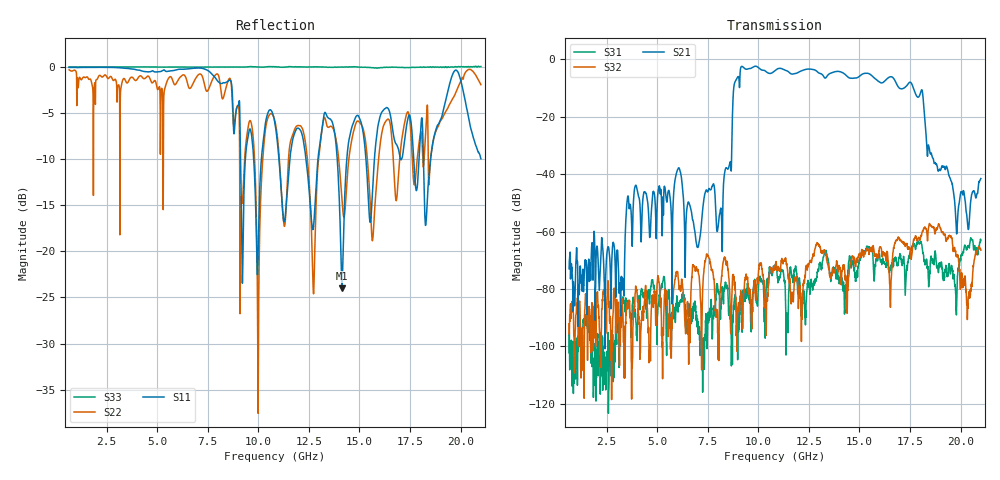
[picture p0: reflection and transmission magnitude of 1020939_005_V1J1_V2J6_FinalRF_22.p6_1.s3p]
!Keysight Technologies,N5227B,US58420583,A.13.95.07
!Date: Wednesday, April 06, 2022 15:24:42
!Correction: S11(Full 3 Port(1,2,3))
!S12(Full 3 Port(1,2,3))
!S13(Full 3 Port(1,2,3))
!S21(Full 3 Port(1,2,3))
!S22(Full 3 Port(1,2,3))
!S23(Full 3 Port(1,2,3))
!S31(Full 3 Port(1,2,3))
!S32(Full 3 Port(1,2,3))
!S33(Full 3 Port(1,2,3))
!S3P File: Measurements: <S11,S12,S13>,
!<S21,S22,S23>,
!<S31,S32,S33>:
# Hz S  dB  R 50
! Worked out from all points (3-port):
!   2036 points, 650 MHz to 21 GHz, reference 50 ohm
!   strongest paths, dB at 650 MHz, 5.74 GHz, 10.83 GHz, 15.92 GHz, 21 GHz:
!     S21: -73.0, -85.2, -3.9, -7.6, -41.6
!     S32: -92.1, -93.8, -72.3, -68.5, -66.5
!     S31: -102.2, -91.6, -72.4, -68.5, -63.2
!   lowest |S11| = -24.0 dB at 14.13 GHz (marker M1), VSWR 1.13, Z = 46.4 + j4.94 ohm
!   |S11| at or under -10 dB: 11.02 GHz to 11.56 GHz (540.3 MHz wide, 4.79 % of centre); 12.36 GHz to 12.95 GHz (592.8 MHz wide, 4.69 % of centre); 13.9 GHz to 14.37 GHz (471.7 MHz wide, 3.34 % of centre)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
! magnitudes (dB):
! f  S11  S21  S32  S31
! 650 MHz  -0.1  -73.0  -92.1  -102.2
! 3.21 GHz  -0.1  -79.1  -92.4  -90.2
! 3.58 GHz  -0.2  -48.3  -86.7  -85.6
! 6.05 GHz  -0.3  -37.9  -76.7  -85.5
! 7.02 GHz  -0.1  -65.4  -73.2  -92.0
! 8.15 GHz  -1.8  -51.8  -78.0  -87.0
! 8.9 GHz  -4.9  -7.2  -84.0  -87.6
! 10.83 GHz  -6.2  -3.9  -72.3  -72.4
! 14.13 GHz  -24.0  -4.6  -73.6  -76.1
! 21 GHz  -10.0  -41.6  -66.5  -63.2
